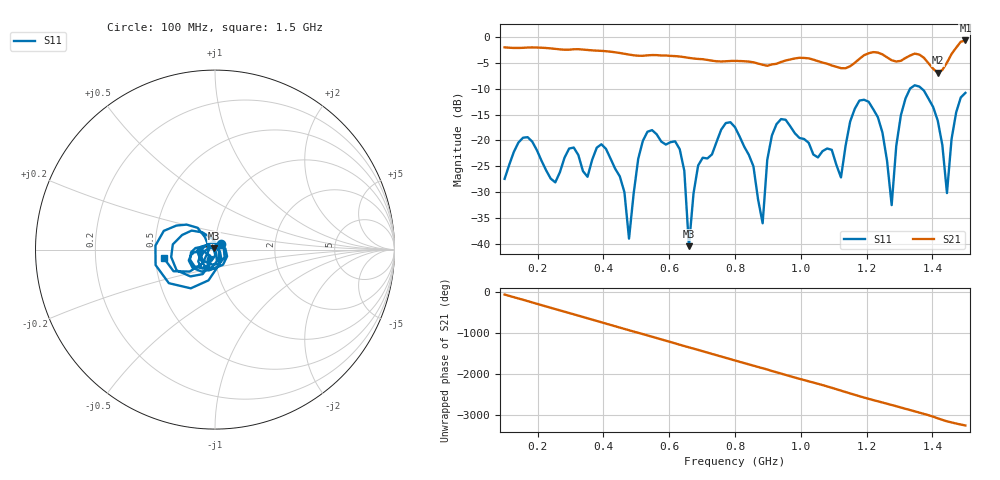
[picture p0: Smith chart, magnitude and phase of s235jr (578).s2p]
! NanoVNA-App
! Date: 2025-09-25 15:08:40
! Start: 100MHz Stop: 1,5GHz Points: 101
! S-Parameter data: F S11 S21 S12 S22
# Hz S RI R 50
!  Frequency  S11_Real  S11_Imag  S21_Real  S21_Imag  S12_Real  S12_Imag  S22_Real  S22_Imag
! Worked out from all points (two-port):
!   101 points, 100 MHz to 1.5 GHz, reference 50 ohm
!   highest |S21| = -0.63 dB at 1.5 GHz (marker M1); lowest = -6.9 dB at 1.416 GHz (marker M2)
!   |S21| within 3 dB of the highest: start of sweep to 606.7 MHz; 1.189 GHz to 1.255 GHz (65.87 MHz wide, 5.39 % of centre) (the widest 2 of 4)
!   lowest |S11| = -40.5 dB at 660 MHz (marker M3), VSWR 1.02, Z = 49.3 + j0.607 ohm
!   |S11| at or under -10 dB: start of sweep to 1.332 GHz; 1.368 GHz to end of sweep
!   S12 and S22 are empty: the file has one direction only
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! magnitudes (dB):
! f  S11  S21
! 100 MHz  -27.5  -2.0
! 170 MHz  -19.4  -2.0
! 338 MHz  -26.0  -2.4
! 408 MHz  -21.7  -2.7
! 478 MHz  -39.1  -3.4
! 520 MHz  -20.1  -3.6
! 576 MHz  -20.2  -3.5
! 632 MHz  -21.7  -3.7
! 660 MHz  -40.5  -4.0
! 688 MHz  -24.9  -4.2
! 800 MHz  -17.4  -4.6
! 884 MHz  -36.1  -5.3
! 926 MHz  -16.9  -5.2
! 1.038 GHz  -22.7  -4.3
! 1.122 GHz  -27.2  -6.0
! 1.206 GHz  -12.5  -3.1
! 1.276 GHz  -32.6  -4.5
! 1.304 GHz  -15.1  -4.6
! 1.332 GHz  -10.0  -3.6
! 1.416 GHz  -16.2  -6.9
! 1.444 GHz  -30.2  -4.9
! 1.5 GHz  -10.8  -0.6
